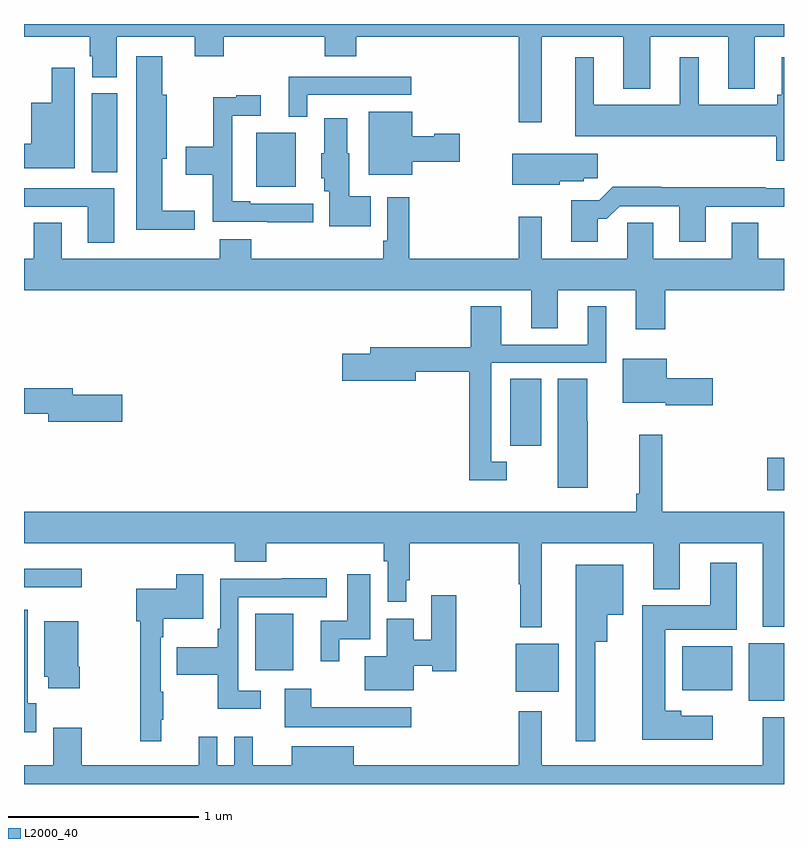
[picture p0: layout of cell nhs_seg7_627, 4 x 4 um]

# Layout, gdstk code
import gdstk
lib = gdstk.Library(unit=1e-6, precision=1e-09)
def R(c, l, rs):  # rectangles x0, y0, x1, y1
    for r in rs: c.add(gdstk.rectangle(r[:2], r[2:], *l))
def P(c, l, *ps):  # polygons
    for p in ps: c.add(gdstk.Polygon(p, *l))
L2000_40 = (2000, 40)

nhs_seg7_627 = lib.new_cell('nhs_seg7_627')
R(nhs_seg7_627, L2000_40, [(162.815,1014.437,163,1014.742), (161.588,1014.485,161.815,1014.739), (162.464,1014.494,162.727,1014.724), (160.217,1014.599,160.417,1014.895), (159,1015.035,159.304,1015.132), (162.912,1015.547,163,1015.718), (161.558,1015.779,161.722,1016.132), (160.223,1017.143,160.429,1017.427), (159.356,1017.22,159.49,1017.636)])
P(nhs_seg7_627, L2000_40, [(159,1017.932),(159.347,1017.932),(159.347,1017.831),(159.359,1017.831),(159.359,1017.721),(159.487,1017.721),(159.487,1017.932),(159.899,1017.932),(159.899,1017.83),(160.052,1017.83),(160.052,1017.932),(160.583,1017.932),(160.583,1017.83),(160.748,1017.83),(160.748,1017.932),(161.604,1017.932),(161.604,1017.483),(161.725,1017.483),(161.725,1017.932),(162.155,1017.932),(162.155,1017.659),(162.295,1017.659),(162.295,1017.932),(162.707,1017.932),(162.707,1017.659),(162.847,1017.659),(162.847,1017.932),(163,1017.932),(163,1018),(159,1018)],
  [(159.898,1017.017),(159.727,1017.017),(159.727,1017.291),(159.751,1017.291),(159.751,1017.627),(159.727,1017.627),(159.727,1017.829),(159.59,1017.829),(159.59,1016.918),(159.898,1016.918)],
  [(163,1017.826),(162.989,1017.826),(162.989,1017.627),(162.964,1017.627),(162.964,1017.574),(162.55,1017.574),(162.55,1017.826),(162.452,1017.826),(162.452,1017.574),(161.998,1017.574),(161.998,1017.826),(161.9,1017.826),(161.9,1017.41),(162.959,1017.41),(162.959,1017.279),(163,1017.279)],
  [(159.268,1017.769),(159.146,1017.769),(159.146,1017.586),(159.038,1017.586),(159.038,1017.37),(159,1017.37),(159,1017.242),(159.268,1017.242)],
  [(160.491,1017.627),(161.038,1017.627),(161.038,1017.723),(160.394,1017.723),(160.394,1017.512),(160.491,1017.512)],
  [(160.522,1017.054),(160.192,1017.054),(160.192,1017.067),(160.095,1017.067),(160.095,1017.516),(160.246,1017.516),(160.246,1017.625),(160.118,1017.625),(160.118,1017.614),(159.997,1017.614),(159.997,1017.354),(159.852,1017.354),(159.852,1017.206),(159.994,1017.206),(159.994,1016.958),(160.279,1016.958),(160.279,1016.957),(160.522,1016.957)],
  [(161.044,1017.275),(161.293,1017.275),(161.293,1017.422),(161.16,1017.422),(161.16,1017.409),(161.044,1017.409),(161.044,1017.538),(160.814,1017.538),(160.814,1017.206),(161.044,1017.206)],
  [(160.826,1017.094),(160.711,1017.094),(160.711,1017.321),(160.702,1017.321),(160.702,1017.505),(160.58,1017.505),(160.58,1017.321),(160.565,1017.321),(160.565,1017.189),(160.58,1017.189),(160.58,1017.12),(160.607,1017.12),(160.607,1016.936),(160.826,1016.936)],
  [(161.82,1017.173),(161.946,1017.173),(161.946,1017.187),(162.019,1017.187),(162.019,1017.316),(161.57,1017.316),(161.57,1017.155),(161.82,1017.155)],
  [(162.019,1016.975),(162.068,1016.975),(162.135,1017.042),(162.449,1017.042),(162.449,1016.853),(162.589,1016.853),(162.589,1017.039),(163,1017.039),(163,1017.136),(162.905,1017.136),(162.905,1017.14),(162.353,1017.14),(162.353,1017.143),(162.098,1017.143),(162.027,1017.072),(161.879,1017.072),(161.879,1016.853),(162.019,1016.853)],
  [(159.475,1017.135),(159,1017.135),(159,1017.039),(159.335,1017.039),(159.335,1016.85),(159.475,1016.85)],
  [(162.374,1016.6),(163,1016.6),(163,1016.764),(162.865,1016.764),(162.865,1016.954),(162.725,1016.954),(162.725,1016.764),(162.313,1016.764),(162.313,1016.954),(162.174,1016.954),(162.174,1016.764),(161.725,1016.764),(161.725,1016.986),(161.604,1016.986),(161.604,1016.764),(161.027,1016.764),(161.027,1017.088),(160.911,1017.088),(160.911,1016.86),(160.891,1016.86),(160.891,1016.764),(160.196,1016.764),(160.196,1016.866),(160.031,1016.866),(160.031,1016.764),(159.199,1016.764),(159.199,1016.954),(159.052,1016.954),(159.052,1016.764),(159,1016.764),(159,1016.6),(161.669,1016.6),(161.669,1016.398),(161.809,1016.398),(161.809,1016.6),(162.221,1016.6),(162.221,1016.394),(162.374,1016.394)],
  [(161.542,1015.695),(161.46,1015.695),(161.46,1016.217),(162.064,1016.217),(162.064,1016.515),(161.966,1016.515),(161.966,1016.313),(161.512,1016.313),(161.512,1016.515),(161.351,1016.515),(161.351,1016.299),(160.823,1016.299),(160.823,1016.265),(160.674,1016.265),(160.674,1016.123),(161.062,1016.123),(161.062,1016.17),(161.344,1016.17),(161.344,1015.598),(161.542,1015.598)],
  [(162.625,1016.136),(162.382,1016.136),(162.382,1016.239),(162.152,1016.239),(162.152,1016.006),(162.378,1016.006),(162.378,1015.994),(162.625,1015.994)],
  [(161.968,1015.908),(161.965,1015.908),(161.965,1016.132),(161.81,1016.132),(161.81,1015.56),(161.968,1015.56)],
  [(159.517,1016.048),(159.256,1016.048),(159.256,1016.084),(159,1016.084),(159,1015.948),(159.128,1015.948),(159.128,1015.906),(159.517,1015.906)],
  [(161.725,1015.268),(162.311,1015.268),(162.311,1015.025),(162.451,1015.025),(162.451,1015.268),(162.887,1015.268),(162.887,1014.827),(163,1014.827),(163,1015.432),(162.359,1015.432),(162.359,1015.837),(162.238,1015.837),(162.238,1015.528),(162.223,1015.528),(162.223,1015.432),(159,1015.432),(159,1015.268),(160.109,1015.268),(160.109,1015.169),(160.274,1015.169),(160.274,1015.268),(160.894,1015.268),(160.894,1015.172),(160.914,1015.172),(160.914,1014.96),(161.011,1014.96),(161.011,1015.072),(161.03,1015.072),(161.03,1015.268),(161.604,1015.268),(161.604,1015.052),(161.611,1015.052),(161.611,1014.824),(161.725,1014.824)],
  [(162.625,1014.358),(162.459,1014.358),(162.459,1014.385),(162.376,1014.385),(162.376,1014.812),(162.751,1014.812),(162.751,1015.165),(162.611,1015.165),(162.611,1014.94),(162.254,1014.94),(162.254,1014.233),(162.625,1014.233)],
  [(162.007,1014.749),(162.07,1014.749),(162.07,1014.89),(162.154,1014.89),(162.154,1015.153),(161.903,1015.153),(161.903,1014.225),(162.007,1014.225)],
  [(160.66,1014.762),(160.822,1014.762),(160.822,1015.105),(160.7,1015.105),(160.7,1014.858),(160.562,1014.858),(160.562,1014.645),(160.66,1014.645)],
  [(159.722,1014.337),(159.733,1014.337),(159.733,1014.485),(159.72,1014.485),(159.72,1014.773),(159.733,1014.773),(159.733,1014.869),(159.943,1014.869),(159.943,1015.105),(159.8,1015.105),(159.8,1015.027),(159.59,1015.027),(159.59,1014.857),(159.612,1014.857),(159.612,1014.225),(159.722,1014.225)],
  [(160.246,1014.492),(160.128,1014.492),(160.128,1014.984),(160.594,1014.984),(160.594,1015.082),(160.357,1015.082),(160.357,1015.08),(160.032,1015.08),(160.032,1014.817),(160.02,1014.817),(160.02,1014.721),(159.805,1014.721),(159.805,1014.574),(160.02,1014.574),(160.02,1014.395),(160.246,1014.395)],
  [(161.05,1014.623),(161.148,1014.623),(161.148,1014.593),(161.274,1014.593),(161.274,1014.994),(161.144,1014.994),(161.144,1014.758),(161.05,1014.758),(161.05,1014.871),(160.91,1014.871),(160.91,1014.673),(160.793,1014.673),(160.793,1014.494),(161.05,1014.494)],
  [(159.064,1014.426),(159.019,1014.426),(159.019,1014.916),(159,1014.916),(159,1014.272),(159.064,1014.272)],
  [(159.294,1014.616),(159.286,1014.616),(159.286,1014.856),(159.107,1014.856),(159.107,1014.564),(159.128,1014.564),(159.128,1014.504),(159.294,1014.504)],
  [(161.038,1014.403),(160.513,1014.403),(160.513,1014.502),(160.373,1014.502),(160.373,1014.299),(161.038,1014.299)],
  [(163,1014.352),(162.887,1014.352),(162.887,1014.1),(161.725,1014.1),(161.725,1014.382),(161.604,1014.382),(161.604,1014.1),(160.735,1014.1),(160.735,1014.199),(160.409,1014.199),(160.409,1014.1),(160.205,1014.1),(160.205,1014.25),(160.107,1014.25),(160.107,1014.1),(160.017,1014.1),(160.017,1014.25),(159.92,1014.25),(159.92,1014.1),(159.303,1014.1),(159.303,1014.295),(159.155,1014.295),(159.155,1014.1),(159,1014.1),(159,1014),(163,1014)])

lib.write_gds('nhs_seg7_627.gds')
